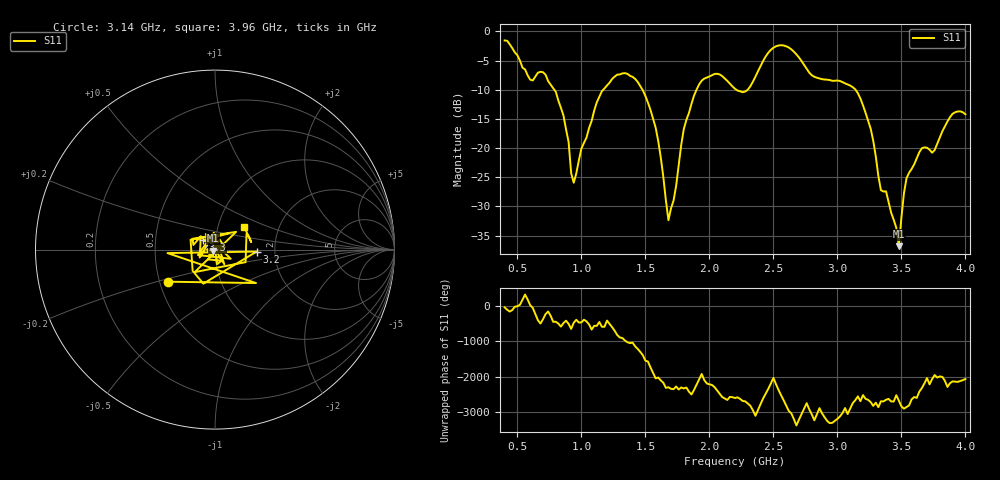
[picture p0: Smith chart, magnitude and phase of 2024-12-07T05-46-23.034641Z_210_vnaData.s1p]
!Created with skrf (http://scikit-rf.org).
# Hz S RI R 50.0
!freq ReS11 ImS11
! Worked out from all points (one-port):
!   181 points, 400 MHz to 4 GHz, reference 50 ohm
!   lowest |S11| = -36.8 dB at 3.48 GHz (marker M1), VSWR 1.03, Z = 48.7 - j0.502 ohm
!   |S11| at or under -10 dB: 788.3 MHz to 1.17 GHz (382.2 MHz wide, 39 % of centre); 1.477 GHz to 1.899 GHz (421.9 MHz wide, 25 % of centre); 3.142 GHz to end of sweep (the widest 3 of 4)
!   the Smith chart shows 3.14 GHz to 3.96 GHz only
!   S11 on the Smith chart (normalised r, x): 3.14 GHz: 0.55, -0.22; 3.2 GHz: 1.60, -0.04; 3.3 GHz: 0.87, +0.09; 3.96 GHz: 1.33, +0.35
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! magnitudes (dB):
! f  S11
! 400 MHz  -1.5
! 600 MHz  -8.3
! 720 MHz  -7.4
! 860 MHz  -14.4
! 940 MHz  -25.9
! 1.12 GHz  -12.2
! 1.3 GHz  -7.4
! 1.54 GHz  -13.5
! 1.6 GHz  -18.8
! 1.68 GHz  -32.4
! 1.76 GHz  -22.9
! 1.8 GHz  -16.7
! 1.94 GHz  -8.4
! 2.2 GHz  -9.8
! 2.3 GHz  -10.0
! 2.5 GHz  -2.8
! 2.66 GHz  -3.5
! 3.1 GHz  -9.3
! 3.14 GHz  -9.9
! 3.2 GHz  -12.7
! 3.3 GHz  -21.4
! 3.34 GHz  -27.2
! 3.38 GHz  -27.4
! 3.48 GHz  -36.8
! 3.52 GHz  -27.7
! 3.56 GHz  -24.2
! 3.96 GHz  -13.7
! 4 GHz  -14.2
